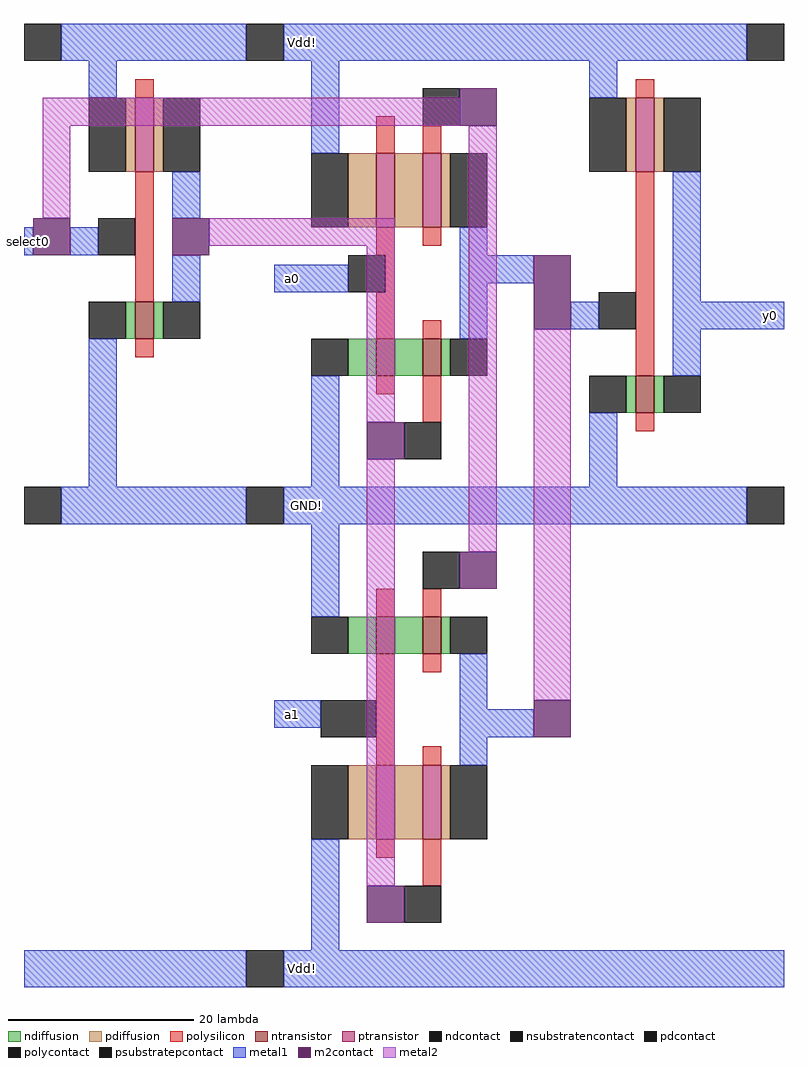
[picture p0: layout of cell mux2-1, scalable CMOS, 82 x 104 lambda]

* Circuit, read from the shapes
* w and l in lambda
.subckt mux2-1 GND! Vdd! a0 a1 select0 y0
M1 n1 select0 GND! GND! nfet w=4 l=2
M2 n2 a1 GND! GND! nfet w=4 l=2
M3 n3 a0 GND! GND! nfet w=4 l=2
M4 n4 select0 n2 GND! nfet w=4 l=2
M5 n4 n1 n3 GND! nfet w=4 l=2
M6 y0 n4 GND! GND! nfet w=4 l=2
M7 n1 select0 Vdd! Vdd! pfet w=8 l=2
M8 n5 a1 Vdd! Vdd! pfet w=8 l=2
M9 n6 a0 Vdd! Vdd! pfet w=8 l=2
M10 n4 n1 n5 Vdd! pfet w=8 l=2
M11 n4 select0 n6 Vdd! pfet w=8 l=2
M12 y0 n4 Vdd! Vdd! pfet w=8 l=2
.ends

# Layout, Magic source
magic
tech scmos
<< ntransistor >>
rect 12 70 14 74
rect 38 66 40 70
rect 43 66 45 70
rect 66 62 68 66
rect 38 36 40 40
rect 43 36 45 40
<< ptransistor >>
rect 12 88 14 96
rect 38 82 40 90
rect 43 82 45 90
rect 66 88 68 96
rect 38 16 40 24
rect 43 16 45 24
<< ndiffusion >>
rect 11 70 12 74
rect 14 70 15 74
rect 35 66 38 70
rect 40 66 43 70
rect 45 66 46 70
rect 65 62 66 66
rect 68 62 69 66
rect 35 36 38 40
rect 40 36 43 40
rect 45 36 46 40
<< pdiffusion >>
rect 11 88 12 96
rect 14 88 15 96
rect 35 82 38 90
rect 40 82 43 90
rect 45 82 46 90
rect 65 88 66 96
rect 68 88 69 96
rect 35 16 38 24
rect 40 16 43 24
rect 45 16 46 24
<< ndcontact >>
rect 7 70 11 74
rect 15 70 19 74
rect 31 66 35 70
rect 46 66 50 70
rect 61 62 65 66
rect 69 62 73 66
rect 31 36 35 40
rect 46 36 50 40
<< pdcontact >>
rect 7 88 11 96
rect 15 88 19 96
rect 31 82 35 90
rect 46 82 50 90
rect 61 88 65 96
rect 69 88 73 96
rect 31 16 35 24
rect 46 16 50 24
<< psubstratepcontact >>
rect 0 50 4 54
rect 24 50 28 54
rect 78 50 82 54
<< nsubstratencontact >>
rect 0 100 4 104
rect 24 100 28 104
rect 78 100 82 104
rect 24 0 28 4
<< polysilicon >>
rect 12 96 14 98
rect 38 90 40 94
rect 66 96 68 98
rect 43 90 45 93
rect 12 74 14 88
rect 38 79 40 82
rect 43 80 45 82
rect 39 75 40 79
rect 38 70 40 75
rect 43 70 45 72
rect 12 68 14 70
rect 66 66 68 88
rect 38 64 40 66
rect 43 61 45 66
rect 66 60 68 62
rect 38 40 40 43
rect 43 40 45 43
rect 38 24 40 36
rect 43 34 45 36
rect 43 24 45 26
rect 38 14 40 16
rect 43 11 45 16
<< polycontact >>
rect 43 93 47 97
rect 8 79 12 83
rect 35 75 39 79
rect 62 71 66 75
rect 41 57 45 61
rect 43 43 47 47
rect 32 27 38 31
rect 41 7 45 11
<< metal1 >>
rect 4 100 24 104
rect 28 100 78 104
rect 7 96 10 100
rect 16 83 19 88
rect 31 90 34 100
rect 61 96 64 100
rect 0 79 1 82
rect 5 79 8 82
rect 47 79 50 82
rect 16 74 19 79
rect 27 75 35 78
rect 47 76 55 79
rect 47 70 50 76
rect 59 71 62 74
rect 70 74 73 88
rect 70 71 82 74
rect 7 54 10 70
rect 70 66 73 71
rect 31 54 34 66
rect 61 54 64 62
rect 4 50 24 54
rect 28 50 78 54
rect 31 40 34 50
rect 27 28 32 31
rect 47 30 50 36
rect 47 27 55 30
rect 47 24 50 27
rect 31 4 34 16
rect 0 0 24 4
rect 28 0 82 4
<< m2contact >>
rect 47 93 51 97
rect 1 79 5 83
rect 16 79 20 83
rect 55 71 59 79
rect 37 57 41 61
rect 47 43 51 47
rect 55 27 59 31
rect 37 7 41 11
<< metal2 >>
rect 2 93 47 96
rect 2 83 5 93
rect 20 80 40 83
rect 37 61 40 80
rect 37 11 40 57
rect 48 47 51 93
rect 55 31 59 71
<< labels >>
rlabel metal1 0 79 1 82 3 select0
rlabel metal1 27 75 31 78 3 a0
rlabel metal1 28 100 32 104 1 Vdd!
rlabel metal1 27 28 31 31 3 a1
rlabel metal1 29 50 32 54 1 GND!
rlabel metal1 28 0 32 4 1 Vdd!
rlabel metal1 79 71 82 74 7 y0
<< end >>
